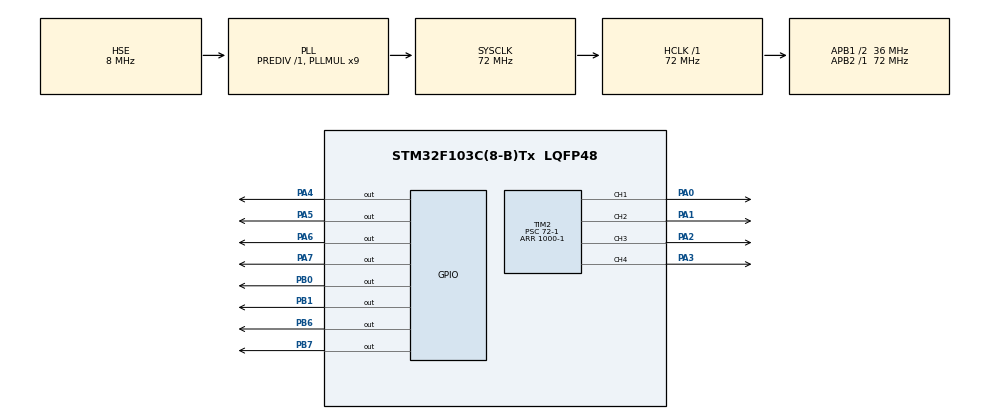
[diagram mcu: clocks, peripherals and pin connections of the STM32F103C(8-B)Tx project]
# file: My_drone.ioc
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Mcu.Family=STM32F1
Mcu.Name=STM32F103C(8-B)Tx
Mcu.Package=LQFP48
NVIC.PriorityGroup=NVIC_PRIORITYGROUP_4
NVIC.TIM3_IRQn=true\:0\:0\:false\:false\:true\:true\:true\:true
PA0-WKUP.Signal=S_TIM2_CH1_ETR
PA1.Signal=S_TIM2_CH2
PA13.Mode=Serial_Wire
PA13.Signal=SYS_JTMS-SWDIO
PA14.Mode=Serial_Wire
PA14.Signal=SYS_JTCK-SWCLK
PA2.Signal=S_TIM2_CH3
PA3.Signal=S_TIM2_CH4
PA4.Signal=GPIO_Output
PA5.Signal=GPIO_Output
PA6.Signal=GPIO_Output
PA7.Signal=GPIO_Output
PB0.Signal=GPIO_Output
PB1.Signal=GPIO_Output
PB6.Signal=GPIO_Output
PB7.Signal=GPIO_Output
PD0-OSC_IN.Mode=HSE-External-Oscillator
PD0-OSC_IN.Signal=RCC_OSC_IN
PD1-OSC_OUT.Mode=HSE-External-Oscillator
PD1-OSC_OUT.Signal=RCC_OSC_OUT
ProjectManager.HeapSize=0x200
ProjectManager.StackSize=0x400
ProjectManager.TargetToolchain=MDK-ARM V5.32
RCC.AHBFreq_Value=72000000
RCC.APB1CLKDivider=RCC_HCLK_DIV2
RCC.APB1Freq_Value=36000000
RCC.APB1TimFreq_Value=72000000
RCC.APB2Freq_Value=72000000
RCC.APB2TimFreq_Value=72000000
RCC.HCLKFreq_Value=72000000
RCC.PLLMUL=RCC_PLL_MUL9
RCC.PLLSourceVirtual=RCC_PLLSOURCE_HSE
RCC.SYSCLKFreq_VALUE=72000000
RCC.SYSCLKSource=RCC_SYSCLKSOURCE_PLLCLK
RCC.USBFreq_Value=72000000
SH.S_TIM2_CH1_ETR.0=TIM2_CH1,PWM Generation1 CH1
SH.S_TIM2_CH2.0=TIM2_CH2,PWM Generation2 CH2
SH.S_TIM2_CH3.0=TIM2_CH3,PWM Generation3 CH3
SH.S_TIM2_CH4.0=TIM2_CH4,PWM Generation4 CH4
TIM2.AutoReloadPreload=TIM_AUTORELOAD_PRELOAD_ENABLE
TIM2.Channel-PWM\ Generation1\ CH1=TIM_CHANNEL_1
TIM2.Channel-PWM\ Generation2\ CH2=TIM_CHANNEL_2
TIM2.Channel-PWM\ Generation3\ CH3=TIM_CHANNEL_3
TIM2.Channel-PWM\ Generation4\ CH4=TIM_CHANNEL_4
TIM2.Period=1000-1
TIM2.Prescaler=72-1
TIM3.AutoReloadPreload=TIM_AUTORELOAD_PRELOAD_ENABLE
TIM3.Period=10000-1
TIM3.Prescaler=72-1
VP_TIM2_VS_ClockSourceINT.Mode=Internal
VP_TIM3_VS_ClockSourceINT.Mode=Internal
board=custom

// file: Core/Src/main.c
/* USER CODE BEGIN Header */
/**
  ******************************************************************************
  * @file           : main.c
  * @brief          : Main program body
  ******************************************************************************
  * @attention
  *
  * Copyright (c) 2025 STMicroelectronics.
  * All rights reserved.
  *
  * This software is licensed under terms that can be found in the LICENSE file
  * in the root directory of this software component.
  * If no LICENSE file comes with this software, it is provided AS-IS.
  *
  ******************************************************************************
  */
/* USER CODE END Header */
#include "main.h"

/* USER CODE BEGIN Includes */
#include "OLED.h"
#include "Delay.h"
#include "MadgwickAHRS.h"
#include "MyI2C.h"
#include "MPU6050.h"
/* USER CODE END Includes */

TIM_HandleTypeDef htim2;
TIM_HandleTypeDef htim3;

void SystemClock_Config(void);
static void MX_GPIO_Init(void);
static void MX_TIM2_Init(void);
static void MX_TIM3_Init(void);

/* USER CODE BEGIN 0 */
MPU6050Params mpu6050 = {
        .MPU6050dt = 10,
        .preMillis = 0,
        .MPU6050ERROE = {0.0f, 0.0f, 0.0f, 0.0f, 0.0f, 0.0f}
};

SensorMsg msg = {
        .A = {0.0f, 0.0f, 0.0f},
        .G = {0.0f, 0.0f, 0.0f}
};

int16_t AX, AY, AZ, GX, GY, GZ;
float x,y,z;
float Yaw = 0;
float Pitch = 0;
float Roll = 0;
float Yaw_copy = 0; // 用于记录Yaw角度的副�???
float Pitch_copy = 0; // 用于记录Pitch角度的副�???
float Roll_copy = 0; // 用于记录Roll角度的副�???
uint8_t Send_Flag = 0; // 用于标记是否需要发送数据
/* USER CODE END 0 */

int main(void)
{

  /* MCU Configuration--------------------------------------------------------*/

  /* Reset of all peripherals, Initializes the Flash interface and the Systick. */
  HAL_Init();

  /* Configure the system clock */
  SystemClock_Config();

  /* Initialize all configured peripherals */
  MX_GPIO_Init();
  MX_TIM2_Init();
  MX_TIM3_Init();
  /* USER CODE BEGIN 2 */
    DWT_Init();
    MPU6050_Init();
    begin(1000.0f / (float)mpu6050.MPU6050dt);    // Initialize the Madgwick filter with the sample frequency
    dataGetERROR();

    HAL_TIM_Base_Start(&htim2);
    HAL_TIM_PWM_Start(&htim2, TIM_CHANNEL_1);
    HAL_TIM_PWM_Start(&htim2, TIM_CHANNEL_2);
    HAL_TIM_PWM_Start(&htim2, TIM_CHANNEL_3);
    HAL_TIM_PWM_Start(&htim2, TIM_CHANNEL_4);

    __HAL_TIM_SET_COMPARE(&htim2, TIM_CHANNEL_1, 0);
    __HAL_TIM_SET_COMPARE(&htim2, TIM_CHANNEL_2, 0);
    __HAL_TIM_SET_COMPARE(&htim2, TIM_CHANNEL_3, 0);
    __HAL_TIM_SET_COMPARE(&htim2, TIM_CHANNEL_4, 0);

    OLED_Init();
    OLED_Clear();

   //一切初始化完成后，启动中断
    HAL_TIM_Base_Start_IT(&htim3); // 启动定时器中断
  /* USER CODE END 2 */

  /* Infinite loop */
  while (1)
  {

    /* USER CODE BEGIN 3 */

    //OLED_ShowString(0*16,0*16,"Hello, World!",OLED_8X16);
    OLED_Clear();

    if(uwTick - mpu6050.preMillis >= mpu6050.MPU6050dt) {
			mpu6050.preMillis = uwTick;
			dataGetAndFilter();
			updateIMU(msg.G[0], msg.G[1], msg.G[2], msg.A[0], msg.A[1], msg.A[2]);
		}
		Yaw = getYaw();
		Pitch = getPitch();
		Roll = getRoll();

    //备份
		Pitch_copy = Pitch;
		Roll_copy = Roll;
		Yaw_copy = Yaw;
    OLED_ShowFloatNum(0, 16*0, Pitch_copy, 3,2, OLED_8X16);
    OLED_ShowFloatNum(0, 16*1, Roll_copy, 3,2, OLED_8X16);
    OLED_ShowFloatNum(0, 16*2, Yaw_copy, 3,2, OLED_8X16);
    OLED_ShowNum(0, 16*3, uwTick,7, OLED_8X16);

    OLED_Update();
  }
  /* USER CODE END 3 */
}

void SystemClock_Config(void)
{
  RCC_OscInitTypeDef RCC_OscInitStruct = {0};
  RCC_ClkInitTypeDef RCC_ClkInitStruct = {0};

  /** Initializes the RCC Oscillators according to the specified parameters
  * in the RCC_OscInitTypeDef structure.
  */
  RCC_OscInitStruct.OscillatorType = RCC_OSCILLATORTYPE_HSE;
  RCC_OscInitStruct.HSEState = RCC_HSE_ON;
  RCC_OscInitStruct.HSEPredivValue = RCC_HSE_PREDIV_DIV1;
  RCC_OscInitStruct.HSIState = RCC_HSI_ON;
  RCC_OscInitStruct.PLL.PLLState = RCC_PLL_ON;
  RCC_OscInitStruct.PLL.PLLSource = RCC_PLLSOURCE_HSE;
  RCC_OscInitStruct.PLL.PLLMUL = RCC_PLL_MUL9;
  if (HAL_RCC_OscConfig(&RCC_OscInitStruct) != HAL_OK)
  {
    Error_Handler();
  }

  /** Initializes the CPU, AHB and APB buses clocks
  */
  RCC_ClkInitStruct.ClockType = RCC_CLOCKTYPE_HCLK|RCC_CLOCKTYPE_SYSCLK
                              |RCC_CLOCKTYPE_PCLK1|RCC_CLOCKTYPE_PCLK2;
  RCC_ClkInitStruct.SYSCLKSource = RCC_SYSCLKSOURCE_PLLCLK;
  RCC_ClkInitStruct.AHBCLKDivider = RCC_SYSCLK_DIV1;
  RCC_ClkInitStruct.APB1CLKDivider = RCC_HCLK_DIV2;
  RCC_ClkInitStruct.APB2CLKDivider = RCC_HCLK_DIV1;

  if (HAL_RCC_ClockConfig(&RCC_ClkInitStruct, FLASH_LATENCY_2) != HAL_OK)
  {
    Error_Handler();
  }
}

static void MX_TIM2_Init(void)
{

  TIM_ClockConfigTypeDef sClockSourceConfig = {0};
  TIM_MasterConfigTypeDef sMasterConfig = {0};
  TIM_OC_InitTypeDef sConfigOC = {0};

  htim2.Instance = TIM2;
  htim2.Init.Prescaler = 72-1;
  htim2.Init.CounterMode = TIM_COUNTERMODE_UP;
  htim2.Init.Period = 1000-1;
  htim2.Init.ClockDivision = TIM_CLOCKDIVISION_DIV1;
  htim2.Init.AutoReloadPreload = TIM_AUTORELOAD_PRELOAD_ENABLE;
  if (HAL_TIM_Base_Init(&htim2) != HAL_OK)
  {
    Error_Handler();
  }
  sClockSourceConfig.ClockSource = TIM_CLOCKSOURCE_INTERNAL;
  if (HAL_TIM_ConfigClockSource(&htim2, &sClockSourceConfig) != HAL_OK)
  {
    Error_Handler();
  }
  if (HAL_TIM_PWM_Init(&htim2) != HAL_OK)
  {
    Error_Handler();
  }
  sMasterConfig.MasterOutputTrigger = TIM_TRGO_RESET;
  sMasterConfig.MasterSlaveMode = TIM_MASTERSLAVEMODE_DISABLE;
  if (HAL_TIMEx_MasterConfigSynchronization(&htim2, &sMasterConfig) != HAL_OK)
  {
    Error_Handler();
  }
  sConfigOC.OCMode = TIM_OCMODE_PWM1;
  sConfigOC.Pulse = 0;
  sConfigOC.OCPolarity = TIM_OCPOLARITY_HIGH;
  sConfigOC.OCFastMode = TIM_OCFAST_DISABLE;
  if (HAL_TIM_PWM_ConfigChannel(&htim2, &sConfigOC, TIM_CHANNEL_1) != HAL_OK)
  {
    Error_Handler();
  }
  if (HAL_TIM_PWM_ConfigChannel(&htim2, &sConfigOC, TIM_CHANNEL_2) != HAL_OK)
  {
    Error_Handler();
  }
  if (HAL_TIM_PWM_ConfigChannel(&htim2, &sConfigOC, TIM_CHANNEL_3) != HAL_OK)
  {
    Error_Handler();
  }
  if (HAL_TIM_PWM_ConfigChannel(&htim2, &sConfigOC, TIM_CHANNEL_4) != HAL_OK)
  {
    Error_Handler();
  }
  HAL_TIM_MspPostInit(&htim2);

}

static void MX_TIM3_Init(void)
{

  TIM_ClockConfigTypeDef sClockSourceConfig = {0};
  TIM_MasterConfigTypeDef sMasterConfig = {0};

  htim3.Instance = TIM3;
  htim3.Init.Prescaler = 72-1;
  htim3.Init.CounterMode = TIM_COUNTERMODE_UP;
  htim3.Init.Period = 10000-1;
  htim3.Init.ClockDivision = TIM_CLOCKDIVISION_DIV1;
  htim3.Init.AutoReloadPreload = TIM_AUTORELOAD_PRELOAD_ENABLE;
  if (HAL_TIM_Base_Init(&htim3) != HAL_OK)
  {
    Error_Handler();
  }
  sClockSourceConfig.ClockSource = TIM_CLOCKSOURCE_INTERNAL;
  if (HAL_TIM_ConfigClockSource(&htim3, &sClockSourceConfig) != HAL_OK)
  {
    Error_Handler();
  }
  sMasterConfig.MasterOutputTrigger = TIM_TRGO_RESET;
  sMasterConfig.MasterSlaveMode = TIM_MASTERSLAVEMODE_DISABLE;
  if (HAL_TIMEx_MasterConfigSynchronization(&htim3, &sMasterConfig) != HAL_OK)
  {
    Error_Handler();
  }

}

static void MX_GPIO_Init(void)
{
  GPIO_InitTypeDef GPIO_InitStruct = {0};

  /* GPIO Ports Clock Enable */
  __HAL_RCC_GPIOD_CLK_ENABLE();
  __HAL_RCC_GPIOA_CLK_ENABLE();
  __HAL_RCC_GPIOB_CLK_ENABLE();

  /*Configure GPIO pin Output Level */
  HAL_GPIO_WritePin(GPIOA, GPIO_PIN_4|GPIO_PIN_5|GPIO_PIN_6|GPIO_PIN_7, GPIO_PIN_RESET);

  /*Configure GPIO pin Output Level */
  HAL_GPIO_WritePin(GPIOB, GPIO_PIN_0|GPIO_PIN_1|GPIO_PIN_6|GPIO_PIN_7, GPIO_PIN_RESET);

  /*Configure GPIO pins : PA4 PA5 PA6 PA7 */
  GPIO_InitStruct.Pin = GPIO_PIN_4|GPIO_PIN_5|GPIO_PIN_6|GPIO_PIN_7;
  GPIO_InitStruct.Mode = GPIO_MODE_OUTPUT_PP;
  GPIO_InitStruct.Pull = GPIO_NOPULL;
  GPIO_InitStruct.Speed = GPIO_SPEED_FREQ_LOW;
  HAL_GPIO_Init(GPIOA, &GPIO_InitStruct);

  /*Configure GPIO pins : PB0 PB1 PB6 PB7 */
  GPIO_InitStruct.Pin = GPIO_PIN_0|GPIO_PIN_1|GPIO_PIN_6|GPIO_PIN_7;
  GPIO_InitStruct.Mode = GPIO_MODE_OUTPUT_PP;
  GPIO_InitStruct.Pull = GPIO_NOPULL;
  GPIO_InitStruct.Speed = GPIO_SPEED_FREQ_LOW;
  HAL_GPIO_Init(GPIOB, &GPIO_InitStruct);

}

/* USER CODE BEGIN 4 */
void dataGetERROR() {
    for(uint8_t i = 0; i < 100; ++i) {
        getMPU6050Data();
        mpu6050.MPU6050ERROE[0] += msg.A[0];
        mpu6050.MPU6050ERROE[1] += msg.A[1];
        mpu6050.MPU6050ERROE[2] += msg.A[2] - 9.79;
        mpu6050.MPU6050ERROE[3] += msg.G[0];
        mpu6050.MPU6050ERROE[4] += msg.G[1];
        mpu6050.MPU6050ERROE[5] += msg.G[2];
        Delay_ms(10);
    }
    for(uint8_t i = 0; i < 6; ++i) {
        mpu6050.MPU6050ERROE[i] /= 100.0f;
    }
}

void getMPU6050Data() {
    MPU6050_GetData(&AX, &AY, &AZ, &GX, &GY, &GZ);		// Get data from MPU6050
    msg.A[0] = (float)((float)AX / (float)32768) * 16 * 9.8*(90.0/75.0)*(180.0/38.8);
    msg.A[1] = (float)((float)AY / (float)32768) * 16 * 9.8*(90.0/75.0)*(180.0/38.8);
    msg.A[2] = (float)((float)AZ / (float)32768) * 16 * 9.8*(90.0/75.0)*(180.0/38.8);
    msg.G[0] = (float)((float)GX / (float)32768) * 2000 * 3.5 *(90.0/172.0)*(90.0/84.0)*(180.0/38.8);
    msg.G[1] = (float)((float)GY / (float)32768) * 2000 * 3.5 *(90.0/172.0)*(90.0/84.0)*(180.0/38.8);
    msg.G[2] = (float)((float)GZ / (float)32768) * 2000 * 3.5 *(90.0/172.0)*(90.0/84.0)*(180.0/38.8);

}

void dataGetAndFilter() {
    getMPU6050Data();
    msg.A[0] -= mpu6050.MPU6050ERROE[0];
    msg.A[1] -= mpu6050.MPU6050ERROE[1];
    msg.A[2] -= mpu6050.MPU6050ERROE[2];
    msg.G[0] -= mpu6050.MPU6050ERROE[3];
    msg.G[1] -= mpu6050.MPU6050ERROE[4];
    msg.G[2] -= mpu6050.MPU6050ERROE[5];
}

/* USER CODE END 4 */

void Error_Handler(void)
{
  __disable_irq();
  while (1)
  {
  }
}
